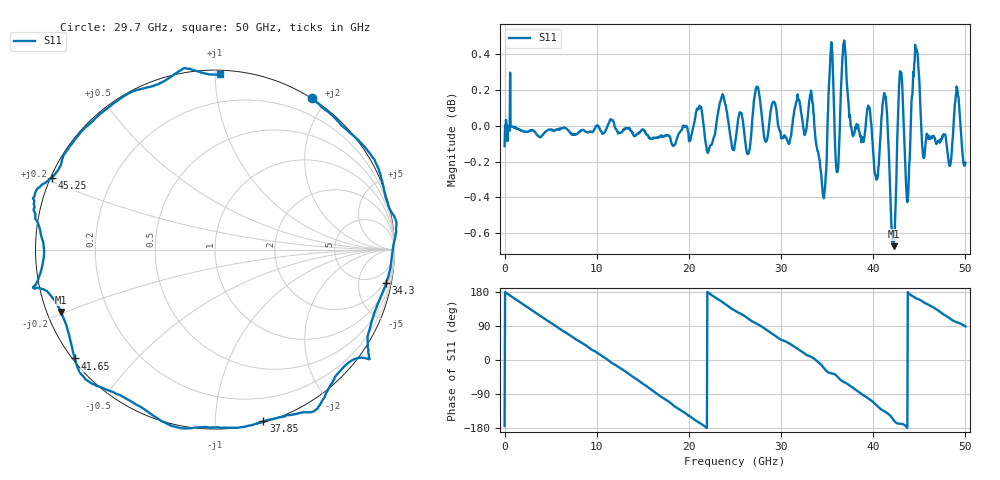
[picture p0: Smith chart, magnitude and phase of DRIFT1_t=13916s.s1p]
!Created with skrf (http://scikit-rf.org).
# Hz S RI R 50.0
!freq ReS11 ImS11
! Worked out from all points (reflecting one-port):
!   1001 points, 300 kHz to 50 GHz, reference 50 ohm
!   lowest |S11| = -0.7 dB at 42.2 GHz (marker M1), VSWR 25.83, Z = 2.01 - j9.74 ohm
!   phase of S11 starts at -174 deg and turns -817 deg over the sweep
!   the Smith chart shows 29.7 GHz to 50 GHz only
!   S11 on the Smith chart (normalised r, x): 29.7 GHz: 0.00, +1.82; 34.3 GHz: 2, -10; 37.85 GHz: 0.01, -1.32; 41.65 GHz: 0.01, -0.34; 45.25 GHz: 0.00, +0.21; 50 GHz: 0.02, +1.03
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300000  -0.9821 -0.0979
1.500291e9  -0.9058 0.4187
3.30028e9  -0.5805 0.8095
6.250262e9  0.2025 0.9778
9.500243e9  0.8925 0.442
1.250022e10  0.9321 -0.3502
1.580021e10  0.2366 -0.963
1.74002e10  -0.2245 -0.968
1.875019e10  -0.599 -0.7918
2.150017e10  -0.9936 -0.15
2.350016e10  -0.9229 0.4289
2.500015e10  -0.6332 0.7593
2.740014e10  -0.094 1.021
2.970012e10  0.5378 0.8428
3.125011e10  0.7863 0.6202
3.31001e10  1.002 0.1769
3.430009e10  0.9534 -0.1858
3.520009e10  0.8537 -0.5698
3.750008e10  0.3721 -0.933
3.785007e10  0.2701 -0.957
3.960006e10  -0.2378 -0.9835
4.165005e10  -0.7819 -0.6064
4.220005e10  -0.8575 -0.348
4.290004e10  -1.014 -0.2126
4.375004e10  -0.9539 0.0136
4.525003e10  -0.9102 0.4017
4.770001e10  -0.4876 0.8664
5e10  0.0256 0.9762
